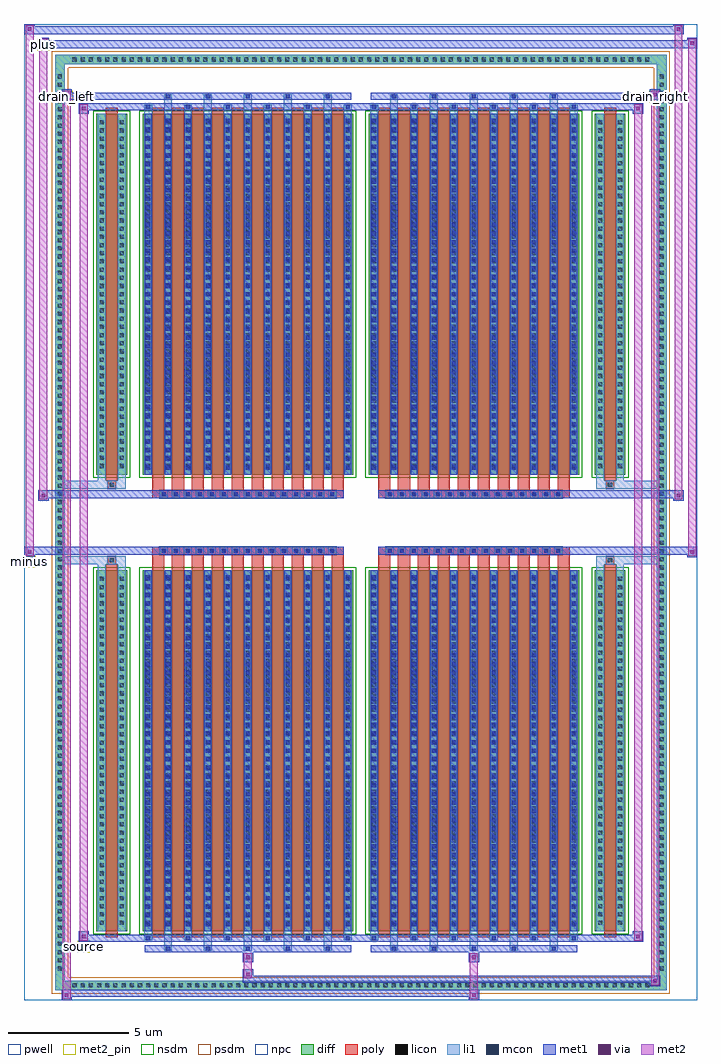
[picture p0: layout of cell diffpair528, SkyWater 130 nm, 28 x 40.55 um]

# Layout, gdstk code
import gdstk
lib = gdstk.Library(unit=1e-6, precision=5e-09)
def R(c, l, rs):  # rectangles x0, y0, x1, y1
    for r in rs: c.add(gdstk.rectangle(r[:2], r[2:], *l))
def A(c, l, x, y, w, h, nx, ny, dx, dy):  # array of equal rectangles
    R(c, l, [(x+i*dx, y+j*dy, x+i*dx+w, y+j*dy+h) for i in range(nx) for j in range(ny)])
def P(c, l, *ps):  # polygons
    for p in ps: c.add(gdstk.Polygon(p, *l))
pwell = (64, 44)
diff = (65, 20)
poly = (66, 20)
licon = (66, 44)
li1 = (67, 20)
mcon = (67, 44)
met1 = (68, 20)
via = (68, 44)
met2_pin = (69, 16)
met2 = (69, 20)
nsdm = (93, 44)
psdm = (94, 20)
npc = (95, 20)

diffpair528 = lib.new_cell('diffpair528')
R(diffpair528, pwell, [(-13.98,-19.84,13.98,20.71), (-11.3,-18.03,-0.01,-0.805), (0.01,-18.03,11.3,-0.805), (-11.3,0.805,-0.01,18.03), (0.01,0.805,11.3,18.03)])
A(diffpair528, diff, -12.105, -19.44, 0.41, 0.41, 71, 2, 0.34, 38.47)
A(diffpair528, diff, -12.71, -18.735, 0.41, 0.41, 1, 110, 0, 0.34)
A(diffpair528, diff, 12.3, -18.735, 0.41, 0.41, 1, 110, 0, 0.34)
R(diffpair528, diff, [(-12.105,-19.44,12.105,-19.03), (-12.71,-18.735,-12.3,18.735), (12.3,-18.735,12.71,18.735), (-10.99,-16.985,-9.71,-1.985), (-9.07,-16.985,-0.32,-1.985), (0.32,-16.985,9.07,-1.985), (9.71,-16.985,10.99,-1.985), (-10.99,1.985,-9.71,16.985), (-9.07,1.985,-0.32,16.985), (0.32,1.985,9.07,16.985), (9.71,1.985,10.99,16.985), (-12.105,19.03,12.105,19.44)])
P(diffpair528, diff, [(12.71,19.44),(-12.71,19.44),(-12.71,-19.03),(-12.3,-19.03),(-12.3,19.03),(12.3,19.03),(12.3,-19.03),(-12.3,-19.03),(-12.71,-19.03),(-12.71,-19.44),(12.71,-19.44)])
A(diffpair528, poly, -8.68, -17.235, 0.5, 15.5, 10, 2, 0.83, 18.97)
A(diffpair528, poly, 0.71, -17.235, 0.5, 15.5, 10, 2, 0.83, 18.97)
A(diffpair528, poly, -8.68, -1.735, 0.5, 0.4, 10, 2, 0.83, 3.07)
A(diffpair528, poly, 0.71, -1.735, 0.5, 0.4, 10, 2, 0.83, 3.07)
A(diffpair528, poly, -8.36, -1.335, 0.33, 0.33, 15, 2, 0.5, 2.34)
A(diffpair528, poly, 1.03, -1.335, 0.33, 0.33, 15, 2, 0.5, 2.34)
R(diffpair528, poly, [(-10.6,-17.235,-10.1,-1.735), (10.1,-17.235,10.6,-1.735), (-10.515,-1.735,-10.185,-1.405), (-10.515,-1.735,-10.185,-1.405), (10.185,-1.735,10.515,-1.405), (10.185,-1.735,10.515,-1.405), (-8.68,-1.335,-0.71,-1.005), (0.71,-1.335,8.68,-1.005), (-8.68,1.005,-0.71,1.335), (0.71,1.005,8.68,1.335), (-10.515,1.405,-10.185,1.735), (-10.515,1.405,-10.185,1.735), (10.185,1.405,10.515,1.735), (10.185,1.405,10.515,1.735), (-10.6,1.735,-10.1,17.235), (10.1,1.735,10.6,17.235)])
A(diffpair528, licon, -11.985, -19.32, 0.17, 0.17, 71, 2, 0.34, 38.47)
A(diffpair528, licon, -12.59, -18.615, 0.17, 0.17, 1, 110, 0, 0.34)
A(diffpair528, licon, 12.42, -18.615, 0.17, 0.17, 1, 110, 0, 0.34)
A(diffpair528, licon, -10.85, -16.71, 0.17, 0.17, 1, 43, 0, 0.34)
A(diffpair528, licon, -10.02, -16.71, 0.17, 0.17, 1, 43, 0, 0.34)
A(diffpair528, licon, -8.93, -16.71, 0.17, 0.17, 11, 43, 0.83, 0.34)
A(diffpair528, licon, 0.46, -16.71, 0.17, 0.17, 11, 43, 0.83, 0.34)
A(diffpair528, licon, 9.85, -16.71, 0.17, 0.17, 1, 43, 0, 0.34)
A(diffpair528, licon, 10.68, -16.71, 0.17, 0.17, 1, 43, 0, 0.34)
A(diffpair528, licon, -8.28, -1.255, 0.17, 0.17, 15, 2, 0.5, 2.34)
A(diffpair528, licon, 1.11, -1.255, 0.17, 0.17, 15, 2, 0.5, 2.34)
A(diffpair528, licon, -10.85, 2.26, 0.17, 0.17, 1, 43, 0, 0.34)
A(diffpair528, licon, -10.02, 2.26, 0.17, 0.17, 1, 43, 0, 0.34)
A(diffpair528, licon, -8.93, 2.26, 0.17, 0.17, 11, 43, 0.83, 0.34)
A(diffpair528, licon, 0.46, 2.26, 0.17, 0.17, 11, 43, 0.83, 0.34)
A(diffpair528, licon, 9.85, 2.26, 0.17, 0.17, 1, 43, 0, 0.34)
A(diffpair528, licon, 10.68, 2.26, 0.17, 0.17, 1, 43, 0, 0.34)
R(diffpair528, licon, [(-10.435,-1.655,-10.265,-1.485), (10.265,-1.655,10.435,-1.485), (-10.435,1.485,-10.265,1.655), (10.265,1.485,10.435,1.655)])
A(diffpair528, li1, -12.065, -19.4, 0.33, 0.33, 71, 2, 0.34, 38.47)
A(diffpair528, li1, -12.67, -18.695, 0.33, 0.33, 1, 110, 0, 0.34)
A(diffpair528, li1, 12.34, -18.695, 0.33, 0.33, 1, 110, 0, 0.34)
A(diffpair528, li1, -8.18, -17.79, 0.33, 0.805, 5, 2, 1.66, 34.775)
A(diffpair528, li1, -8.1, -17.79, 0.17, 0.17, 5, 2, 1.66, 35.41)
A(diffpair528, li1, 1.21, -17.79, 0.33, 0.805, 5, 2, 1.66, 34.775)
A(diffpair528, li1, 1.29, -17.79, 0.17, 0.17, 5, 2, 1.66, 35.41)
A(diffpair528, li1, -9.01, -17.36, 0.33, 0.375, 6, 2, 1.66, 34.345)
A(diffpair528, li1, -8.93, -17.36, 0.17, 0.17, 6, 2, 1.66, 34.55)
A(diffpair528, li1, 0.38, -17.36, 0.33, 0.375, 6, 2, 1.66, 34.345)
A(diffpair528, li1, 0.46, -17.36, 0.17, 0.17, 6, 2, 1.66, 34.55)
A(diffpair528, li1, -9.01, -16.985, 0.33, 15, 11, 2, 0.83, 18.97)
A(diffpair528, li1, 0.38, -16.985, 0.33, 15, 11, 2, 0.83, 18.97)
A(diffpair528, li1, -10.93, -16.79, 0.33, 0.33, 1, 43, 0, 0.34)
A(diffpair528, li1, -10.1, -16.79, 0.33, 0.33, 1, 43, 0, 0.34)
A(diffpair528, li1, -9.01, -16.79, 0.33, 0.33, 11, 43, 0.83, 0.34)
A(diffpair528, li1, 0.38, -16.79, 0.33, 0.33, 11, 43, 0.83, 0.34)
A(diffpair528, li1, 9.77, -16.79, 0.33, 0.33, 1, 43, 0, 0.34)
A(diffpair528, li1, 10.6, -16.79, 0.33, 0.33, 1, 43, 0, 0.34)
A(diffpair528, li1, -8.93, -16.77, 0.17, 0.17, 11, 41, 0.83, 0.36)
A(diffpair528, li1, -8.93, -16.77, 0.17, 14.57, 11, 2, 0.83, 18.97)
A(diffpair528, li1, 0.46, -16.77, 0.17, 0.17, 11, 41, 0.83, 0.36)
A(diffpair528, li1, 0.46, -16.77, 0.17, 14.57, 11, 2, 0.83, 18.97)
A(diffpair528, li1, -8.36, -1.335, 0.33, 0.33, 15, 2, 0.5, 2.34)
A(diffpair528, li1, 1.03, -1.335, 0.33, 0.33, 15, 2, 0.5, 2.34)
A(diffpair528, li1, -10.93, 2.18, 0.33, 0.33, 1, 43, 0, 0.34)
A(diffpair528, li1, -10.1, 2.18, 0.33, 0.33, 1, 43, 0, 0.34)
A(diffpair528, li1, -9.01, 2.18, 0.33, 0.33, 11, 43, 0.83, 0.34)
A(diffpair528, li1, 0.38, 2.18, 0.33, 0.33, 11, 43, 0.83, 0.34)
A(diffpair528, li1, 9.77, 2.18, 0.33, 0.33, 1, 43, 0, 0.34)
A(diffpair528, li1, 10.6, 2.18, 0.33, 0.33, 1, 43, 0, 0.34)
A(diffpair528, li1, -8.93, 2.2, 0.17, 0.17, 11, 41, 0.83, 0.36)
A(diffpair528, li1, 0.46, 2.2, 0.17, 0.17, 11, 41, 0.83, 0.36)
R(diffpair528, li1, [(-12.71,-19.44,-12.3,-19.03), (-12.71,-19.44,-12.3,-19.03), (-12.3,-19.44,12.3,-19.03), (12.3,-19.44,12.71,-19.03), (12.3,-19.44,12.71,-19.03), (-12.71,-19.03,-12.3,19.03), (12.3,-19.03,12.71,19.03), (-10.93,-16.985,-10.6,-1.985), (-10.1,-16.985,-9.77,-1.985), (9.77,-16.985,10.1,-1.985), (10.6,-16.985,10.93,-1.985), (-10.93,-1.985,-10.6,-1.405), (-10.1,-1.985,-9.77,-1.405), (9.77,-1.985,10.1,-1.405), (10.6,-1.985,10.93,-1.405), (-12.71,-1.735,-10.515,-1.405), (-10.93,-1.735,-10.515,-1.405), (-10.515,-1.735,-10.185,-1.405), (-10.185,-1.735,-9.77,-1.405), (9.77,-1.735,10.185,-1.405), (10.185,-1.735,10.515,-1.405), (10.185,-1.735,12.71,-1.405), (10.515,-1.735,10.93,-1.405), (-12.71,1.405,-10.515,1.735), (-10.93,1.405,-10.515,1.735), (-10.93,1.405,-10.6,1.985), (-10.515,1.405,-10.185,1.735), (-10.185,1.405,-9.77,1.735), (-10.1,1.405,-9.77,1.985), (9.77,1.405,10.185,1.735), (9.77,1.405,10.1,1.985), (10.185,1.405,10.515,1.735), (10.185,1.405,12.71,1.735), (10.515,1.405,10.93,1.735), (10.6,1.405,10.93,1.985), (-10.93,1.985,-10.6,16.985), (-10.1,1.985,-9.77,16.985), (9.77,1.985,10.1,16.985), (10.6,1.985,10.93,16.985), (-12.71,19.03,-12.3,19.44), (-12.71,19.03,-12.3,19.44), (-12.3,19.03,12.3,19.44), (12.3,19.03,12.71,19.44), (12.3,19.03,12.71,19.44)])
A(diffpair528, mcon, -8.1, -17.79, 0.17, 0.17, 5, 2, 1.66, 35.41)
A(diffpair528, mcon, 1.29, -17.79, 0.17, 0.17, 5, 2, 1.66, 35.41)
A(diffpair528, mcon, -8.93, -17.36, 0.17, 0.17, 6, 2, 1.66, 34.55)
A(diffpair528, mcon, 0.46, -17.36, 0.17, 0.17, 6, 2, 1.66, 34.55)
A(diffpair528, mcon, -8.93, -16.77, 0.17, 0.17, 11, 41, 0.83, 0.36)
A(diffpair528, mcon, 0.46, -16.77, 0.17, 0.17, 11, 41, 0.83, 0.36)
A(diffpair528, mcon, -8.28, -1.255, 0.17, 0.17, 15, 2, 0.5, 2.34)
A(diffpair528, mcon, 1.11, -1.255, 0.17, 0.17, 15, 2, 0.5, 2.34)
A(diffpair528, mcon, -8.93, 2.2, 0.17, 0.17, 11, 41, 0.83, 0.36)
A(diffpair528, mcon, 0.46, 2.2, 0.17, 0.17, 11, 41, 0.83, 0.36)
A(diffpair528, met1, -8.16, -17.85, 0.29, 0.29, 5, 2, 1.66, 35.41)
A(diffpair528, met1, 1.23, -17.85, 0.29, 0.29, 5, 2, 1.66, 35.41)
A(diffpair528, met1, -8.99, -17.42, 0.29, 0.29, 6, 2, 1.66, 34.55)
A(diffpair528, met1, 0.4, -17.42, 0.29, 0.29, 6, 2, 1.66, 34.55)
A(diffpair528, met1, -8.99, -16.985, 0.29, 15, 11, 2, 0.83, 18.97)
A(diffpair528, met1, 0.4, -16.985, 0.29, 15, 11, 2, 0.83, 18.97)
A(diffpair528, met1, -8.99, -16.83, 0.29, 0.29, 11, 41, 0.83, 0.36)
A(diffpair528, met1, 0.4, -16.83, 0.29, 0.29, 11, 41, 0.83, 0.36)
A(diffpair528, met1, -8.34, -1.315, 0.29, 0.29, 15, 2, 0.5, 2.34)
A(diffpair528, met1, 1.05, -1.315, 0.29, 0.29, 15, 2, 0.5, 2.34)
A(diffpair528, met1, -8.99, 2.14, 0.29, 0.29, 11, 41, 0.83, 0.36)
A(diffpair528, met1, 0.4, 2.14, 0.29, 0.29, 11, 41, 0.83, 0.36)
R(diffpair528, met1, [(-12.44,-19.84,-12.01,-19.41), (4.48,-19.84,4.91,-19.41), (-12.44,-19.7,4.91,-19.41), (12.01,-19.27,12.44,-18.84), (-4.91,-19.13,12.44,-18.84), (-4.91,-18.99,-4.48,-18.56), (-4.91,-18.28,-4.48,-17.85), (4.48,-18.28,4.91,-17.85), (-8.99,-17.85,-0.4,-17.56), (0.4,-17.85,8.99,-17.56), (-11.73,-17.42,-11.3,-16.99), (-11.73,-17.42,-8.99,-17.13), (-8.99,-17.42,-0.4,-17.13), (-0.4,-17.42,0.4,-17.13), (0.4,-17.42,8.99,-17.13), (8.99,-17.42,11.73,-17.13), (11.3,-17.42,11.73,-16.99), (-13.98,-1.435,-13.55,-1.005), (13.55,-1.435,13.98,-1.005), (-13.98,-1.335,-0.71,-1.005), (-8.68,-1.335,-0.71,-1.005), (0.71,-1.335,8.68,-1.005), (0.71,-1.335,13.98,-1.005), (-13.41,0.905,-12.98,1.335), (12.98,0.905,13.41,1.335), (-13.41,1.005,-8.68,1.335), (-8.68,1.005,-0.71,1.335), (0.71,1.005,8.68,1.335), (8.68,1.005,13.41,1.335), (-11.73,16.99,-11.3,17.42), (11.3,16.99,11.73,17.42), (-11.73,17.13,-8.99,17.42), (-8.99,17.13,-0.4,17.42), (-0.4,17.13,0.4,17.42), (0.4,17.13,8.99,17.42), (8.99,17.13,11.73,17.42), (-12.44,17.56,-12.01,17.99), (-12.44,17.56,-8.99,17.85), (-8.99,17.56,-0.4,17.85), (0.4,17.56,8.99,17.85), (8.99,17.56,12.44,17.85), (12.01,17.56,12.44,17.99), (-13.41,19.71,-12.98,20.14), (-13.41,19.71,-11.3,20.04), (-11.3,19.71,11.3,20.04), (11.3,19.71,13.98,20.04), (13.55,19.71,13.98,20.14), (-13.98,20.28,-13.55,20.71), (-13.98,20.28,-11.3,20.61), (-11.3,20.28,11.3,20.61), (11.3,20.28,13.41,20.61), (12.98,20.28,13.41,20.71)])
R(diffpair528, via, [(-12.3,-19.7,-12.15,-19.55), (4.62,-19.7,4.77,-19.55), (12.15,-19.13,12.3,-18.98), (-4.77,-18.85,-4.62,-18.7), (-4.77,-18.14,-4.62,-17.99), (4.62,-18.14,4.77,-17.99), (-11.59,-17.28,-11.44,-17.13), (11.44,-17.28,11.59,-17.13), (-13.84,-1.295,-13.69,-1.145), (13.69,-1.295,13.84,-1.145), (-13.27,1.045,-13.12,1.195), (13.12,1.045,13.27,1.195), (-11.59,17.13,-11.44,17.28), (11.44,17.13,11.59,17.28), (-12.3,17.7,-12.15,17.85), (12.15,17.7,12.3,17.85), (-13.27,19.85,-13.12,20), (13.69,19.85,13.84,20), (-13.84,20.42,-13.69,20.57), (13.12,20.42,13.27,20.57)])
R(diffpair528, met2_pin, [(-11.765,-17.87,-11.265,-17.37), (-14.015,-1.885,-13.515,-1.385), (-12.475,17.44,-11.975,17.94), (11.975,17.44,12.475,17.94), (-13.445,19.59,-12.945,20.09)])
R(diffpair528, met2, [(-12.39,-19.79,-12.06,-19.46), (-12.39,-19.79,-12.06,17.94), (4.53,-19.79,4.86,-19.46), (4.53,-19.46,4.86,-18.23), (12.06,-19.22,12.39,-18.89), (12.06,-19.22,12.39,17.94), (-4.86,-18.94,-4.53,-18.61), (-4.86,-18.61,-4.53,-18.23), (-4.86,-18.23,-4.53,-17.9), (4.53,-18.23,4.86,-17.9), (-11.68,-17.37,-11.35,-17.04), (-11.68,-17.37,-11.35,17.37), (11.35,-17.37,11.68,-17.04), (11.35,-17.37,11.68,17.37), (-13.93,-1.385,-13.6,-1.055), (-13.93,-1.385,-13.6,20.66), (13.6,-1.385,13.93,-1.055), (13.6,-1.385,13.93,20.09), (-13.36,0.955,-13.03,1.285), (-13.36,0.955,-13.03,20.09), (13.03,0.955,13.36,1.285), (13.03,0.955,13.36,20.66), (-11.68,17.04,-11.35,17.37), (11.35,17.04,11.68,17.37), (-12.39,17.61,-12.06,17.94), (12.06,17.61,12.39,17.94), (-13.36,19.76,-13.03,20.09), (13.6,19.76,13.93,20.09), (-13.93,20.33,-13.6,20.66), (13.03,20.33,13.36,20.66)])
P(diffpair528, met2, [(13.93,-1.385),(13.93,-1.385),(13.93,-1.055),(13.93,-1.055)],
  [(13.93,19.76),(13.93,19.76),(13.93,20.09),(13.93,20.09)],
  [(-13.6,-1.385),(-13.6,-1.385),(-13.6,-1.055),(-13.6,-1.055)],
  [(-13.6,20.33),(-13.6,20.33),(-13.6,20.66),(-13.6,20.66)],
  [(13.36,0.955),(13.36,0.955),(13.36,1.285),(13.36,1.285)],
  [(13.36,20.33),(13.36,20.33),(13.36,20.66),(13.36,20.66)],
  [(-13.03,0.955),(-13.03,0.955),(-13.03,1.285),(-13.03,1.285)],
  [(-13.03,19.76),(-13.03,19.76),(-13.03,20.09),(-13.03,20.09)],
  [(-12.06,-19.79),(-12.06,-19.79),(-12.06,-19.46),(-12.06,-19.46)],
  [(-12.06,17.61),(-12.06,17.61),(-12.06,17.94),(-12.06,17.94)],
  [(12.39,-19.22),(12.39,-19.22),(12.39,-18.89),(12.39,-18.89)],
  [(12.39,17.61),(12.39,17.61),(12.39,17.94),(12.39,17.94)],
  [(-11.35,-17.37),(-11.35,-17.37),(-11.35,-17.04),(-11.35,-17.04)],
  [(-11.35,17.04),(-11.35,17.04),(-11.35,17.37),(-11.35,17.37)],
  [(11.68,-17.37),(11.68,-17.37),(11.68,-17.04),(11.68,-17.04)],
  [(11.68,17.04),(11.68,17.04),(11.68,17.37),(11.68,17.37)])
R(diffpair528, nsdm, [(-11.12,-17.115,-9.58,-1.855), (-9.2,-17.115,-0.19,-1.855), (0.19,-17.115,9.2,-1.855), (9.58,-17.115,11.12,-1.855), (-11.12,1.855,-9.58,17.115), (-9.2,1.855,-0.19,17.115), (0.19,1.855,9.2,17.115), (9.58,1.855,11.12,17.115)])
P(diffpair528, psdm, [(12.84,19.57),(-12.84,19.57),(-12.84,-18.9),(-12.17,-18.9),(-12.17,18.9),(12.17,18.9),(12.17,-18.9),(-12.17,-18.9),(-12.84,-18.9),(-12.84,-19.57),(12.84,-19.57)])
A(diffpair528, npc, -8.38, -1.355, 0.37, 0.37, 15, 2, 0.5, 2.34)
A(diffpair528, npc, 1.01, -1.355, 0.37, 0.37, 15, 2, 0.5, 2.34)
R(diffpair528, npc, [(-10.535,-1.755,-10.165,-1.385), (10.165,-1.755,10.535,-1.385), (-8.38,-1.355,-7.51,-0.985), (-8.38,-1.355,-7.51,-0.985), (-7.88,-1.355,-7.01,-0.985), (-7.88,-1.355,-7.01,-0.985), (-7.38,-1.355,-6.51,-0.985), (-7.38,-1.355,-6.51,-0.985), (-6.88,-1.355,-6.01,-0.985), (-6.88,-1.355,-6.01,-0.985), (-6.38,-1.355,-5.51,-0.985), (-6.38,-1.355,-5.51,-0.985), (-5.88,-1.355,-5.01,-0.985), (-5.88,-1.355,-5.01,-0.985), (-5.38,-1.355,-4.51,-0.985), (-5.38,-1.355,-4.51,-0.985), (-4.88,-1.355,-4.01,-0.985), (-4.88,-1.355,-4.01,-0.985), (-4.38,-1.355,-3.51,-0.985), (-4.38,-1.355,-3.51,-0.985), (-3.88,-1.355,-3.01,-0.985), (-3.88,-1.355,-3.01,-0.985), (-3.38,-1.355,-2.51,-0.985), (-3.38,-1.355,-2.51,-0.985), (-2.88,-1.355,-2.01,-0.985), (-2.88,-1.355,-2.01,-0.985), (-2.38,-1.355,-1.51,-0.985), (-2.38,-1.355,-1.51,-0.985), (-1.88,-1.355,-1.01,-0.985), (-1.88,-1.355,-1.01,-0.985), (1.01,-1.355,1.88,-0.985), (1.01,-1.355,1.88,-0.985), (1.51,-1.355,2.38,-0.985), (1.51,-1.355,2.38,-0.985), (2.01,-1.355,2.88,-0.985), (2.01,-1.355,2.88,-0.985), (2.51,-1.355,3.38,-0.985), (2.51,-1.355,3.38,-0.985), (3.01,-1.355,3.88,-0.985), (3.01,-1.355,3.88,-0.985), (3.51,-1.355,4.38,-0.985), (3.51,-1.355,4.38,-0.985), (4.01,-1.355,4.88,-0.985), (4.01,-1.355,4.88,-0.985), (4.51,-1.355,5.38,-0.985), (4.51,-1.355,5.38,-0.985), (5.01,-1.355,5.88,-0.985), (5.01,-1.355,5.88,-0.985), (5.51,-1.355,6.38,-0.985), (5.51,-1.355,6.38,-0.985), (6.01,-1.355,6.88,-0.985), (6.01,-1.355,6.88,-0.985), (6.51,-1.355,7.38,-0.985), (6.51,-1.355,7.38,-0.985), (7.01,-1.355,7.88,-0.985), (7.01,-1.355,7.88,-0.985), (7.51,-1.355,8.38,-0.985), (7.51,-1.355,8.38,-0.985), (-8.38,0.985,-7.51,1.355), (-8.38,0.985,-7.51,1.355), (-7.88,0.985,-7.01,1.355), (-7.88,0.985,-7.01,1.355), (-7.38,0.985,-6.51,1.355), (-7.38,0.985,-6.51,1.355), (-6.88,0.985,-6.01,1.355), (-6.88,0.985,-6.01,1.355), (-6.38,0.985,-5.51,1.355), (-6.38,0.985,-5.51,1.355), (-5.88,0.985,-5.01,1.355), (-5.88,0.985,-5.01,1.355), (-5.38,0.985,-4.51,1.355), (-5.38,0.985,-4.51,1.355), (-4.88,0.985,-4.01,1.355), (-4.88,0.985,-4.01,1.355), (-4.38,0.985,-3.51,1.355), (-4.38,0.985,-3.51,1.355), (-3.88,0.985,-3.01,1.355), (-3.88,0.985,-3.01,1.355), (-3.38,0.985,-2.51,1.355), (-3.38,0.985,-2.51,1.355), (-2.88,0.985,-2.01,1.355), (-2.88,0.985,-2.01,1.355), (-2.38,0.985,-1.51,1.355), (-2.38,0.985,-1.51,1.355), (-1.88,0.985,-1.01,1.355), (-1.88,0.985,-1.01,1.355), (1.01,0.985,1.88,1.355), (1.01,0.985,1.88,1.355), (1.51,0.985,2.38,1.355), (1.51,0.985,2.38,1.355), (2.01,0.985,2.88,1.355), (2.01,0.985,2.88,1.355), (2.51,0.985,3.38,1.355), (2.51,0.985,3.38,1.355), (3.01,0.985,3.88,1.355), (3.01,0.985,3.88,1.355), (3.51,0.985,4.38,1.355), (3.51,0.985,4.38,1.355), (4.01,0.985,4.88,1.355), (4.01,0.985,4.88,1.355), (4.51,0.985,5.38,1.355), (4.51,0.985,5.38,1.355), (5.01,0.985,5.88,1.355), (5.01,0.985,5.88,1.355), (5.51,0.985,6.38,1.355), (5.51,0.985,6.38,1.355), (6.01,0.985,6.88,1.355), (6.01,0.985,6.88,1.355), (6.51,0.985,7.38,1.355), (6.51,0.985,7.38,1.355), (7.01,0.985,7.88,1.355), (7.01,0.985,7.88,1.355), (7.51,0.985,8.38,1.355), (7.51,0.985,8.38,1.355), (-10.535,1.385,-10.165,1.755), (10.165,1.385,10.535,1.755)])
diffpair528.add(gdstk.Label('minus', (-13.765,-1.635), layer=69, texttype=5))
diffpair528.add(gdstk.Label('drain_right', (12.225,17.69), layer=69, texttype=5))
diffpair528.add(gdstk.Label('drain_left', (-12.225,17.69), layer=69, texttype=5))
diffpair528.add(gdstk.Label('source', (-11.515,-17.62), layer=69, texttype=5))
diffpair528.add(gdstk.Label('plus', (-13.195,19.84), layer=69, texttype=5))

lib.write_gds('diffpair528.gds')
